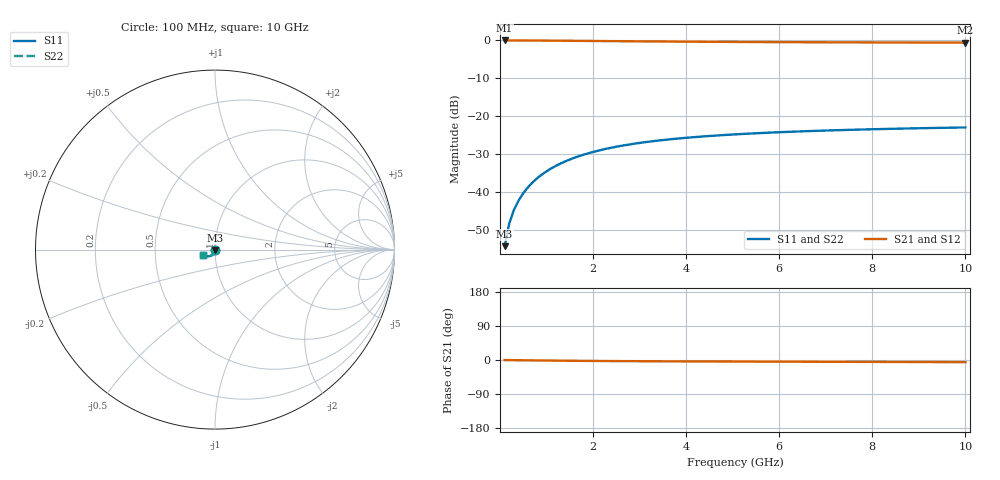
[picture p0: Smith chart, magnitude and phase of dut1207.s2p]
! Touchstone file exported from HFSS 2024.1.0
!  File:  C:/UserFiles/LocalFiles/RDL_TSV_Batchsim/temp_TSV1_1207_1780247901.aedt
!  Generated:  01:23:21 AM Jun  1, 2026
!  Design:  TSV1
!  Project:  temp_TSV1_1207_1780247901
!  Setup:  Setup1
!  Solution:  Sweep
! Variables:
!  dtsv = 14.3um
!  hbump = 3um
!  htsv = 83.93um
!  lrdl = 252.1521522um
!  p = 40
!  p1 = 44.88um
!  t = 500um
!  trdl = 3um
!  wrdl = 24.89489489um
# GHz S MA R 50.000000
! Terminal data exported
! Port[1] = TSV22_T1
! Port[2] = TSV22_T2
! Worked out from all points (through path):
!   100 points, 100 MHz to 10 GHz, reference 50 ohm
!   highest |S21| = 0.00 dB at 100 MHz (marker M1); lowest = -0.6 dB at 10 GHz (marker M2)
!   lowest |S11| = -54.2 dB at 100 MHz (marker M3), VSWR 1.00, Z = 50 - j0.195 ohm
!   |S11| at or under -10 dB: start of sweep to end of sweep
!   |S22| runs from -54.2 to -22.9 dB; largest |S21 - S12| = 2.4e-15
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0.1  0.001952 -89.0  0.9999 -0.2  0.9999 -0.2  0.001952 -89.0
! Gamma 0 0 0 0
! Port Impedance 50 0 50 0
0.2  0.003903 -91.7  0.9997 -0.3  0.9997 -0.3  0.003903 -91.7
0.3  0.005854 -93.6  0.9994 -0.5  0.9994 -0.5  0.005854 -93.6
0.4  0.007795 -95.3  0.999 -0.6  0.999 -0.6  0.007795 -95.3
0.5  0.009718 -97.0  0.9985 -0.7  0.9985 -0.7  0.009718 -97.0
0.6  0.01162 -98.7  0.9979 -0.9  0.9979 -0.9  0.01162 -98.7
0.7  0.01349 -100.3  0.9973 -1.0  0.9973 -1.0  0.01349 -100.3
0.8  0.01532 -101.8  0.9966 -1.2  0.9966 -1.2  0.01532 -101.8
0.9  0.01712 -103.4  0.9958 -1.3  0.9958 -1.3  0.01712 -103.4
1.1  0.0206 -106.3  0.994 -1.5  0.994 -1.5  0.0206 -106.3
1.4  0.02548 -110.5  0.9909 -1.9  0.9909 -1.9  0.02548 -110.5
1.6  0.02851 -113.1  0.9888 -2.1  0.9888 -2.1  0.02851 -113.1
1.8  0.03133 -115.5  0.9865 -2.3  0.9865 -2.3  0.03133 -115.5
2.1  0.03523 -118.9  0.9831 -2.6  0.9831 -2.6  0.03523 -118.9
2.5  0.03981 -123.0  0.9785 -2.9  0.9785 -2.9  0.03981 -123.0
2.9  0.04378 -126.6  0.9742 -3.1  0.9742 -3.1  0.04378 -126.6
3.4  0.048 -130.5  0.9693 -3.4  0.9693 -3.4  0.048 -130.5
4.2  0.05344 -135.6  0.9624 -3.8  0.9624 -3.8  0.05344 -135.6
5.1  0.05815 -140.1  0.9561 -4.1  0.9561 -4.1  0.05815 -140.1
6.7  0.06417 -146.1  0.9476 -4.6  0.9476 -4.6  0.06417 -146.1
8.4  0.06854 -150.6  0.9411 -5.1  0.9411 -5.1  0.06854 -150.6
10  0.07148 -153.8  0.9367 -5.6  0.9367 -5.6  0.07148 -153.8
